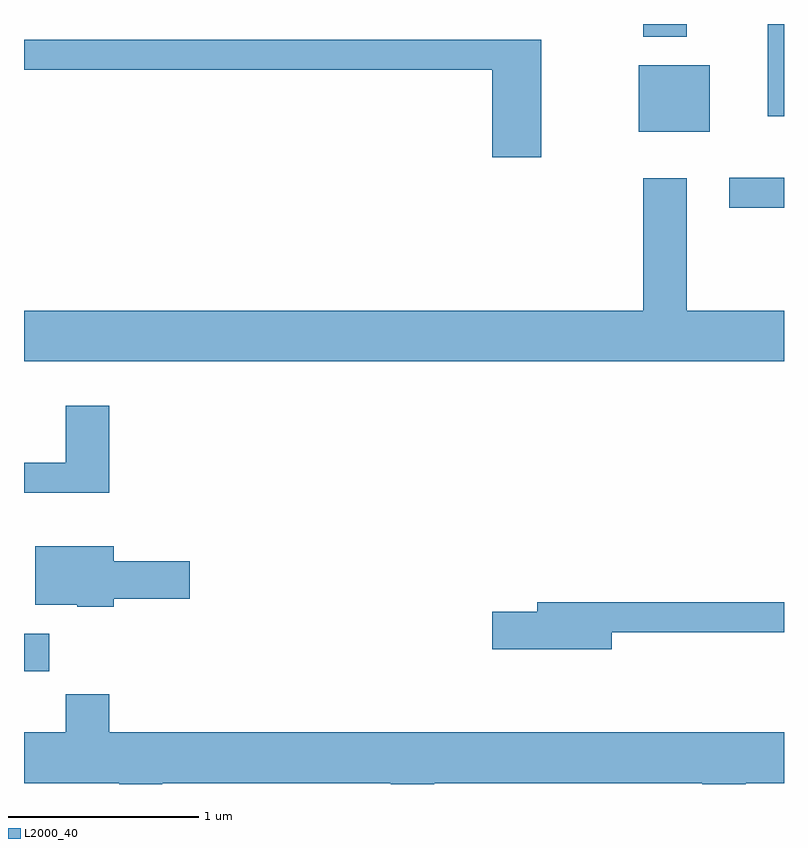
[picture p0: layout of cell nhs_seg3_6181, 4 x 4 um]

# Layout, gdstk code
import gdstk
lib = gdstk.Library(unit=1e-6, precision=1e-09)
def R(c, l, rs):  # rectangles x0, y0, x1, y1
    for r in rs: c.add(gdstk.rectangle(r[:2], r[2:], *l))
def P(c, l, *ps):  # polygons
    for p in ps: c.add(gdstk.Polygon(p, *l))
L2000_40 = (2000, 40)

nhs_seg3_6181 = lib.new_cell('nhs_seg3_6181')
R(nhs_seg3_6181, L2000_40, [(365.611,1246.486,365.744,1246.684), (369.323,1248.926,369.611,1249.084), (368.846,1249.326,369.219,1249.674), (369.526,1249.406,369.611,1249.892), (368.871,1249.826,369.099,1249.892)])
P(nhs_seg3_6181, L2000_40, [(368.334,1249.809),(365.611,1249.809),(365.611,1249.651),(368.076,1249.651),(368.076,1249.191),(368.334,1249.191)],
  [(369.611,1248.384),(369.099,1248.384),(369.099,1249.079),(368.871,1249.079),(368.871,1248.384),(365.611,1248.384),(365.611,1248.116),(369.611,1248.116)],
  [(366.059,1247.884),(365.831,1247.884),(365.831,1247.584),(365.611,1247.584),(365.611,1247.426),(366.059,1247.426)],
  [(366.084,1246.866),(366.484,1246.866),(366.484,1247.064),(366.084,1247.064),(366.084,1247.144),(365.671,1247.144),(365.671,1246.836),(365.89,1246.836),(365.89,1246.826),(366.084,1246.826)],
  [(368.704,1246.691),(369.611,1246.691),(369.611,1246.849),(368.311,1246.849),(368.311,1246.799),(368.076,1246.799),(368.076,1246.601),(368.704,1246.601)],
  [(366.339,1245.896),(367.541,1245.896),(367.541,1245.892),(367.769,1245.892),(367.769,1245.896),(369.181,1245.896),(369.181,1245.892),(369.409,1245.892),(369.409,1245.896),(369.611,1245.896),(369.611,1246.164),(366.059,1246.164),(366.059,1246.364),(365.831,1246.364),(365.831,1246.164),(365.611,1246.164),(365.611,1245.896),(366.111,1245.896),(366.111,1245.892),(366.339,1245.892)])

lib.write_gds('nhs_seg3_6181.gds')
